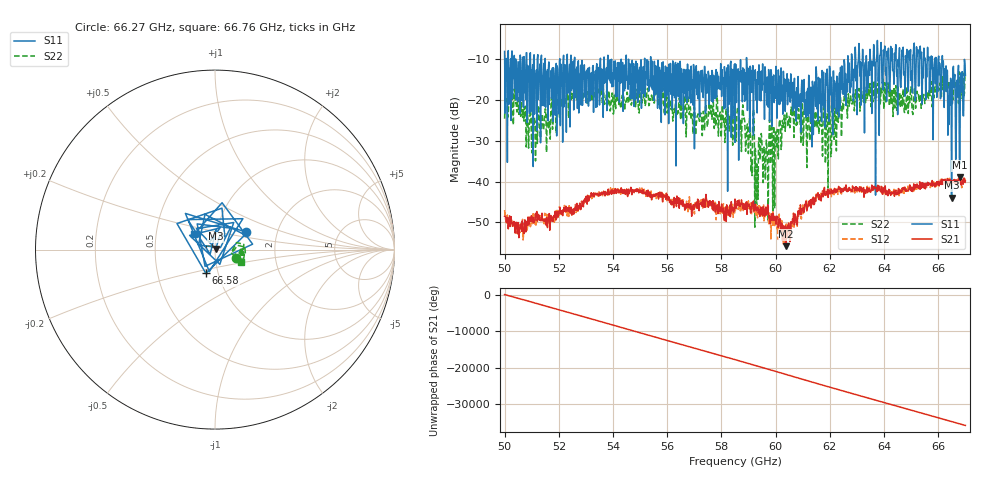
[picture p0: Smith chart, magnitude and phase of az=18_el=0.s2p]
!Created with skrf (http://scikit-rf.org).
# GHz S RI R 50.0
!freq ReS11 ImS11 ReS21 ImS21 ReS12 ImS12 ReS22 ImS22
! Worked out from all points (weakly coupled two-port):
!   1001 points, 50 GHz to 67 GHz, reference 50 ohm
!   highest |S21| = -38.97 dB at 66.8 GHz (marker M1); lowest = -55.8 dB at 60.39 GHz (marker M2)
!   lowest |S11| = -44.0 dB at 66.49 GHz (marker M3), VSWR 1.01, Z = 50.5 + j0.451 ohm
!   |S11| at or under -10 dB: 52.58 GHz to 53.53 GHz (949.7 MHz wide, 1.79 % of centre); 55.39 GHz to 58.92 GHz (3.533 GHz wide, 6.18 % of centre); 58.93 GHz to 62.66 GHz (3.736 GHz wide, 6.15 % of centre) (the widest 3 of 64)
!   |S22| runs from -51.1 to -13.2 dB; largest |S21 - S12| = 0.0019
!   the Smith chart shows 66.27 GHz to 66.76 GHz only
!   S11 on the Smith chart (normalised r, x): 66.27 GHz: 1.39, +0.28; 66.58 GHz: 0.87, -0.24; 66.76 GHz: 0.78, +0.13
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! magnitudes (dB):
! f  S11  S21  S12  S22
! 50 GHz  -8.2  -48.5  -47.0  -24.6
! 50.15 GHz  -21.1  -49.4  -49.1  -20.5
! 51.07 GHz  -9.9  -50.1  -49.8  -26.1
! 52.84 GHz  -12.2  -45.9  -44.8  -19.5
! 55.68 GHz  -13.3  -44.3  -43.4  -21.2
! 58.5 GHz  -30.4  -44.3  -45.7  -23.7
! 59.11 GHz  -12.9  -46.7  -48.1  -35.4
! 59.32 GHz  -23.2  -46.2  -47.3  -35.8
! 59.45 GHz  -20.3  -46.2  -47.6  -29.6
! 59.66 GHz  -15.2  -48.2  -47.0  -29.9
! 60.39 GHz  -17.8  -55.8  -50.4  -23.1
! 61.34 GHz  -31.5  -44.3  -44.6  -26.5
! 62 GHz  -12.3  -42.5  -42.8  -23.7
! 62.55 GHz  -11.3  -41.5  -41.8  -18.6
! 64.18 GHz  -12.0  -41.9  -43.0  -17.6
! 66.27 GHz  -14.0  -40.2  -40.8  -17.9
! 66.44 GHz  -21.3  -39.4  -40.2  -16.3
! 66.49 GHz  -44.0  -39.8  -39.6  -15.3
! 66.58 GHz  -17.0  -40.0  -40.3  -15.8
! 66.76 GHz  -16.8  -40.0  -39.4  -16.0
! 66.8 GHz  -35.7  -39.0  -39.8  -13.8
! 67 GHz  -14.1  -39.8  -40.4  -14.3
